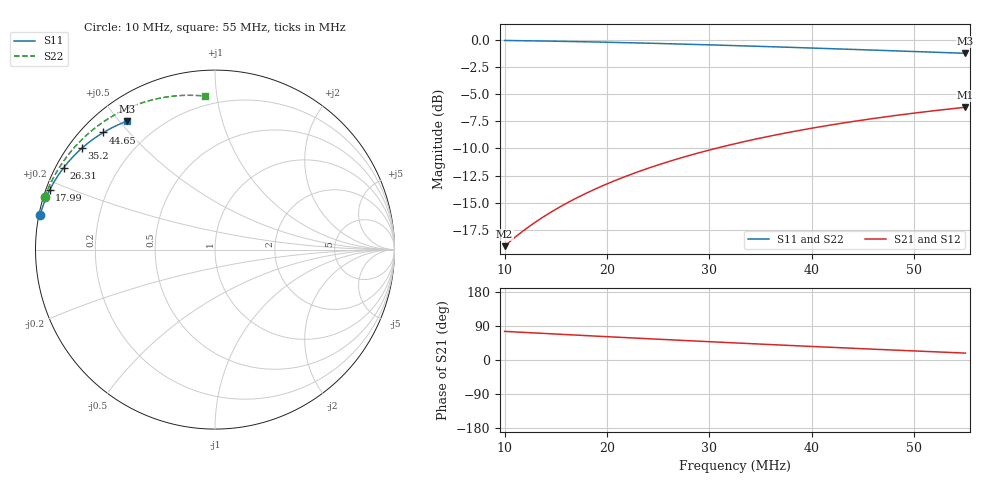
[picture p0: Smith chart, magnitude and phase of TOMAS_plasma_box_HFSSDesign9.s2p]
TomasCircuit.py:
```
from pyRFtk import rfCircuit, rfTRL, rfRLC, rfObject, rfCoupler

def TOMASICCircuit(CaVal=150*1e-12,CpVal=47.94*1e-12,CsVal=133*1e-12):
    Zbase = 50
    ct = rfCircuit(Zbase = Zbase)

    # antenna strap

    A2Ca1_L = 0.95 #Antenna to pre-matching capacitor length
    A2Ca1_Z = 50
    T2Cs1_L = 0.087
    T2Cs1_Z = 50

    tsStrap = 'Ansys/TOMAS_plasma_box_HFSSDesign9.s2p'

    strap = rfObject(touchstone=tsStrap, ports=['cap','t'])

    if strap.fs[0] == 0.:
        strap.fs[0] = 1e-3 # avoid divisions by 0 at 0 Hz in deembed

    strap.deembed({'cap':(A2Ca1_L, A2Ca1_Z), 
                        't'  :(T2Cs1_L, T2Cs1_Z)})
            
    # circuit
    T2Cs_L = 0.16
    T2Cs_Z = 50
    Cs2Cp_L = 0.2
    Cs2Cp_Z = 50
    A2Ca_L = 0.29
    A2Ca_Z = 50.
    CptoV0_Z = 50
    V0toV1_Z = 50
    V1toV2_Z = 50
    V2toV3_Z = 50
    V3toIn_Z = 50

    CptoV0_L = 0.235
    V0toV1_L = 0.66
    V1toV2_L = 0.795
    V2toV3_L = 0.66
    V3toIn_L = 0.235

    LsCaps_H = 30e-9

    # build the circuit
    ct.addblock('strap', strap, 
                     # ports=['t','cap']
                     )
    ct.addblock('A2Ca1',
        rfTRL(L=A2Ca1_L, Z0TL=A2Ca1_Z,
        ports= ['ant','vcw'])
    )

    ct.connect('A2Ca1.ant','strap.cap')

    ct.addblock('A2Ca', 
        rfTRL(L=A2Ca_L, Z0TL=A2Ca_Z,
        ports= ['vcw','cap'])
    )
    ct.connect('A2Ca1.vcw', 'A2Ca.vcw')
    ct.addblock('Ca', rfRLC(Cs=CaVal, Ls=LsCaps_H, ports= ['cap','sc']))
    ct.connect('Ca.cap', 'A2Ca.cap')
    ct.terminate('Ca.sc',Z=0.)
    ct.addblock('T2Cs1',
        rfTRL(L=T2Cs1_L, Z0TL=T2Cs1_Z,
        ports= ['t','vcw'])
    )
    ct.connect('strap.t', 'T2Cs1.t')
    ct.addblock('T2Cs',
        rfTRL(L=T2Cs_L, Z0TL=T2Cs_Z,
        ports= ['vcw','cap'])
    )
    ct.connect('T2Cs1.vcw', 'T2Cs.vcw')
    ct.addblock('Cs', rfRLC(Cs=CsVal, Ls=LsCaps_H, ports= ['cap','toCp']))
    ct.connect('T2Cs.cap','Cs.cap')
    ct.addblock('Cs2Cp',
        rfTRL(L=Cs2Cp_L, Z0TL=Cs2Cp_Z,
        ports= ['Cs','Cp'])
    )
    ct.connect('Cs.toCp', 'Cs2Cp.Cs')
    ct.addblock('Cp', rfRLC(Cs=CpVal, Ls=LsCaps_H, ports= ['Cp','sc']))
    ct.terminate('Cp.sc', Z=0)


    # Coaxial cable

    ct.addblock('IntoV3', 
        rfTRL(L=V3toIn_L, Z0TL=V3toIn_Z,
        ports= ['In','V3']),
        relpos=0
    )
    ct.addblock('V3toV2', 
        rfTRL(L=V2toV3_L, Z0TL=V2toV3_Z,
        ports= ['V3','V2']),
        relpos=V3toIn_L
    )
    ct.addblock('V2toV1', 
        rfTRL(L=V1toV2_L, Z0TL=V0toV1_Z,
        ports= ['V2','V1']),
        relpos=V3toIn_L + V2toV3_L
    )
    ct.addblock('V1toV0', 
        rfTRL(L=V0toV1_L, Z0TL=V1toV2_Z,
        ports= ['V1','V0']),
        relpos=V3toIn_L + V2toV3_L + V0toV1_L
    )
    ct.addblock('V0toCp', 
        rfTRL(L=CptoV0_L, Z0TL=CptoV0_Z,
        ports= ['V0','Cp']),
        relpos=V3toIn_L + V2toV3_L + V0toV1_L + V1toV2_L
    )

    ct.connect('Cs2Cp.Cp', 'Cp.Cp', 'V0toCp.Cp')

    
    ct.connect('V0toCp.V0','V1toV0.V0')
    ct.connect('V1toV0.V1','V2toV1.V1')
    ct.connect('V2toV1.V2','V3toV2.V2')
    ct.connect('V3toV2.V3','IntoV3.V3')
    ct.connect('IntoV3.In','Source')

    return ct
```
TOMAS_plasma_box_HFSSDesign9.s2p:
! Touchstone file exported from HFSS 2022.2.0
!  File:  /home/arthur/Ansoft/PersonalLib/TOMAS_plasma_box.aedt
!  Generated:  5:05:00 PM  Nov 07, 2023
!  Design:  HFSSDesign9
!  Project:  TOMAS_plasma_box
!  Setup:  Setup1
!  Solution:  Sweep
! Variables:
!  offset = 1.25cm
!  r_diel = 210mm
# GHz S MA R 50.000000
! Terminal data exported
! Port[1] = 1
! Port[2] = 2
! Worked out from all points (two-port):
!   401 points, 10 MHz to 55 MHz, reference 50 ohm
!   highest |S21| = -6.21 dB at 55 MHz (marker M1); lowest = -19.0 dB at 10 MHz (marker M2)
!   |S21| within 3 dB of the highest: 34.19 MHz to end of sweep
!   lowest |S11| = -1.2 dB at 55 MHz (marker M3), VSWR 14.02, Z = 4.56 + j26.3 ohm
!   |S11| at or under -10 dB: nowhere
!   |S22| runs from -1.3 to -0.1 dB; largest |S21 - S12| = 0.002
!   S11 on the Smith chart (normalised r, x): 10 MHz: 0.00, +0.10; 17.99 MHz: 0.01, +0.17; 26.31 MHz: 0.02, +0.25; 35.2 MHz: 0.04, +0.34; 44.65 MHz: 0.06, +0.43; 55 MHz: 0.09, +0.53
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0.01  0.9933 168.9  0.1123 75.5  0.1123 75.5  0.9924 162.8
! Gamma 0 0.209584502215678 0 0.209584502192288
! Port Impedance 50 0 50 0
0.0137125  0.9876 164.9  0.1524 70.2  0.1525 70.2  0.9859 156.5
0.0179875  0.9793 160.3  0.1969 64.3  0.1971 64.2  0.9766 149.4
0.021925  0.9702 156.1  0.2362 58.9  0.2365 58.8  0.9666 142.9
0.0263125  0.9587 151.6  0.2779 53.1  0.2782 53.0  0.9541 135.8
0.0325  0.9406 145.3  0.3325 45.1  0.3328 44.9  0.9347 126.1
0.0352  0.9322 142.7  0.3547 41.6  0.3551 41.5  0.9258 122.0
0.0398125  0.9174 138.2  0.3906 35.9  0.3911 35.8  0.9101 115.1
0.04465  0.9014 133.6  0.4252 30.1  0.4258 30.0  0.8933 108.1
0.0497125  0.8844 129.0  0.4582 24.2  0.459 24.0  0.8755 100.9
0.055  0.8669 124.3  0.4894 18.2  0.4904 18.0  0.857 93.7
